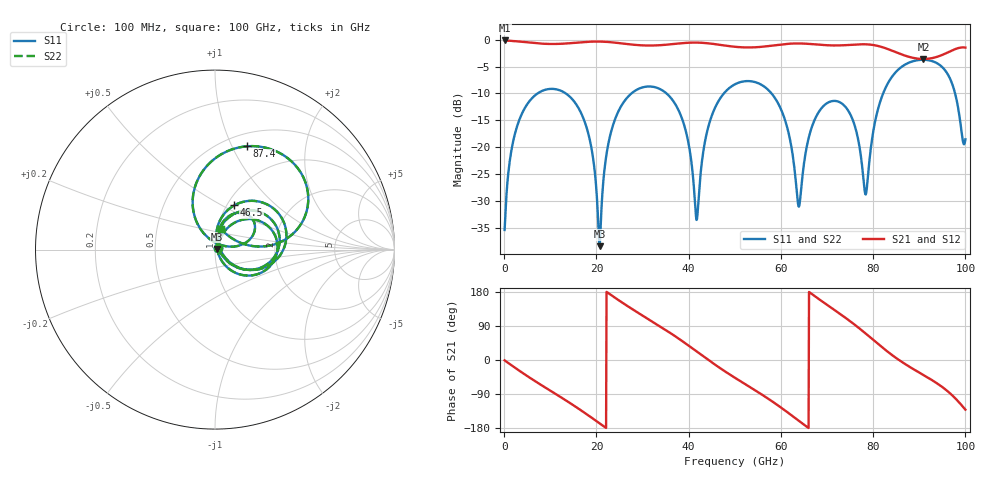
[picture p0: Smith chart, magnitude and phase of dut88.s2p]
! Touchstone file exported from HFSS 2026.1.0
!  File:  C:/ffzhzh/LocalFiles/Ansys_Project_Files/temp_train_TSV_RDL_88_1783452466_41684.aedt
!  Generated:  03:45:18 AM Jul  8, 2026
!  Design:  TSV_RDL
!  Project:  temp_train_TSV_RDL_88_1783452466_41684
! Variables:
!  h_bsmrdl = 3.05um
!  h_ox = 20um
!  h_rdl = 5um
!  h_sub = 85.61um
!  h_tmrdl = 2.08um
!  h_tsv = 85.61um
!  h_via = 3um
!  l_bsmrdl = 289.77um
!  l_sub = 2386.97um
!  l_tmrdl = 251.26um
!  m_sub = 200um
!  pitch = 40.27um
!  r_tsv = 12.47um
!  s_tmrdl = 10um
!  w_bsmrdl = 17.53um
!  w_sub = 500um
!  w_tmrdl = 20.01um
!  x_tsv_center1 = 261.265um
!  x_tsv_center2 = 568.565um
!  x_tsv_center3 = 839.835um
!  x_tsv_center4 = 1147.135um
!  x_tsv_center5 = 1418.405um
!  x_tsv_center6 = 1725.705um
# GHz S MA R 50.000000
! Terminal data exported
! Port[1] = TM_RDL1_1_T1
! Port[2] = TM_RDL5_1_T1
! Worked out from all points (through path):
!   1000 points, 100 MHz to 100 GHz, reference 50 ohm
!   highest |S21| = -0.14 dB at 100 MHz (marker M1); lowest = -3.6 dB at 90.9 GHz (marker M2)
!   group delay of S21, straight-line fit = 23.3 ps
!   lowest |S11| = -38.4 dB at 20.7 GHz (marker M3), VSWR 1.02, Z = 51.2 + j0.36 ohm
!   |S11| at or under -10 dB: 13.38 GHz to 27.59 GHz (14.21 GHz wide, 69.4 % of centre); 35.21 GHz to 47.63 GHz (12.42 GHz wide, 30 % of centre); 57.98 GHz to 82.16 GHz (24.18 GHz wide, 34.5 % of centre) (the widest 3 of 5)
!   |S22| runs from -38.3 to -3.7 dB; largest |S21 - S12| = 9.9e-14
!   S11 on the Smith chart (normalised r, x): 100 MHz: 1.03, +0.01; 46.5 GHz: 1.08, +0.58; 87.4 GHz: 0.63, +1.14; 100 GHz: 1.04, +0.24
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0.1  0.01701 22.1  0.9843 -0.9  0.9843 -0.9  0.01701 22.1
! Gamma 0 0 0 0
! Port Impedance 50 0 50 0
1.9  0.1107 62.6  0.9731 -16.5  0.9731 -16.5  0.1107 62.6
5.3  0.2619 40.6  0.9422 -44.7  0.9422 -44.7  0.2619 40.6
11.2  0.3464 -2.3  0.9131 -89.9  0.9131 -89.9  0.3464 -2.3
16.8  0.203 -43.8  0.9475 -134.0  0.9475 -134.0  0.203 -43.7
20.7  0.01202 17.0  0.9609 -167.2  0.9609 -167.2  0.01215 16.7
24.5  0.2036 65.5  0.9347 160.4  0.9347 160.4  0.2036 65.4
33.4  0.3537 1.1  0.8872 91.8  0.8872 91.8  0.3537 1.1
38.8  0.1726 -37.3  0.9303 48.3  0.9303 48.3  0.1726 -37.3
41.7  0.02108 14.8  0.9405 22.9  0.9405 22.9  0.02133 14.8
46.5  0.2699 66.3  0.8997 -18.8  0.8997 -18.8  0.2699 66.2
50.1  0.3862 40.3  0.8591 -47.4  0.8591 -47.4  0.3862 40.2
59.3  0.2604 -25.3  0.8954 -119.3  0.8954 -119.3  0.2604 -25.4
63.9  0.028 20.9  0.9232 -160.5  0.9232 -160.5  0.02765 20.9
66.7  0.1538 74.7  0.9104 174.2  0.9104 174.2  0.1538 74.8
73.9  0.2399 24.2  0.8895 112.2  0.8895 112.2  0.2399 24.1
78.4  0.03635 69.4  0.9065 69.7  0.9065 69.7  0.03579 69.4
83.4  0.4078 103.0  0.8121 19.5  0.8121 19.5  0.4077 103.1
87.4  0.6018 73.0  0.7004 -14.3  0.7004 -14.3  0.6018 73.0
90.9  0.6509 50.1  0.662 -39.6  0.662 -39.6  0.6509 50.2
96.4  0.4587 12.7  0.7694 -85.0  0.7694 -85.0  0.4587 12.8
100  0.1184 72.7  0.8449 -131.0  0.8449 -131.0  0.1187 72.7
